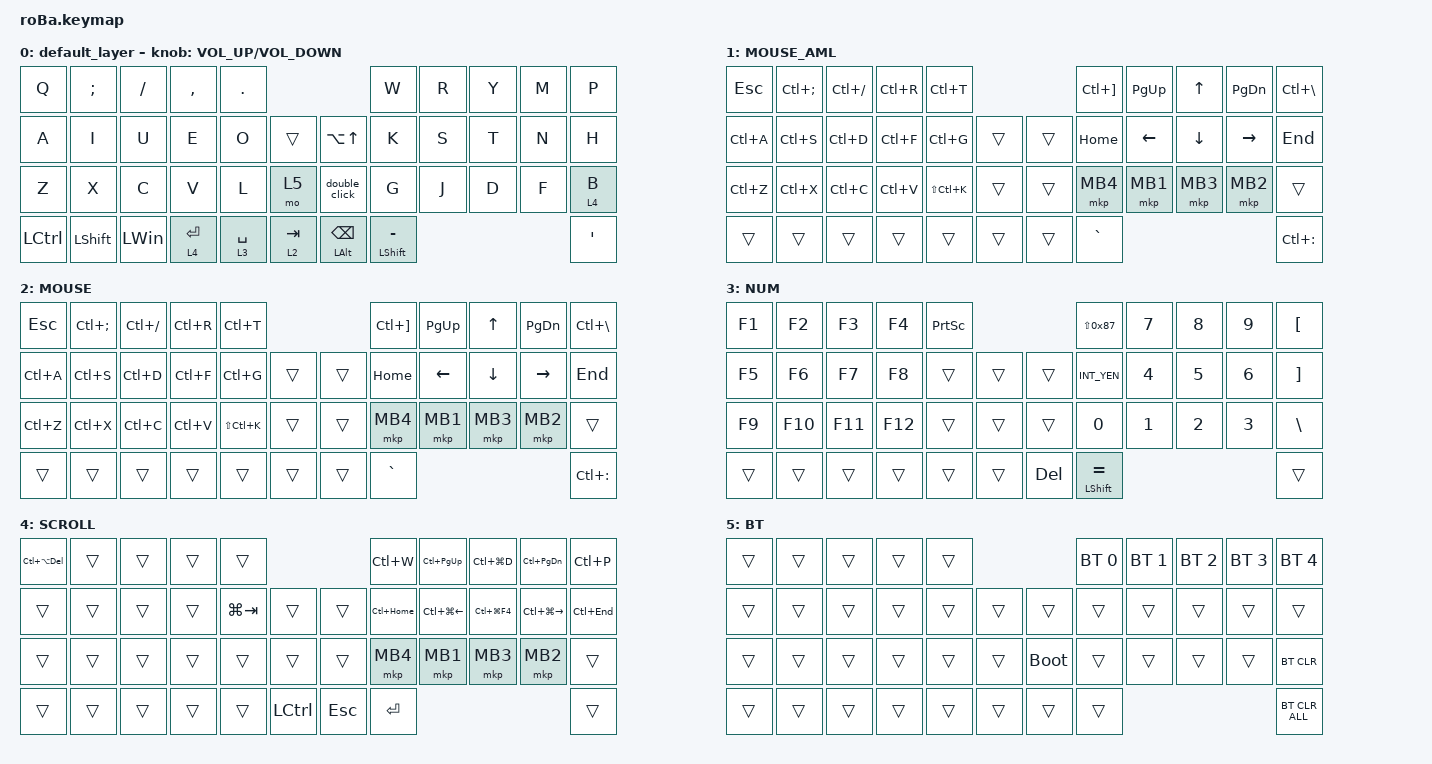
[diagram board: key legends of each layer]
#include <input/processors.dtsi>
#include <behaviors.dtsi>
#include <dt-bindings/zmk/bt.h>
#include <dt-bindings/zmk/keys.h>
#include <dt-bindings/zmk/pointing.h>

&mkp_input_listener {
    input-processors = <&zip_temp_layer 1 250>; // AMLのダブルクリック猶予
};

&mt {
    flavor = "balanced";
    quick-tap-ms = <200>; // TAP & HOLD でTAP側のキーが長押し扱いになる設定
};

&lt {
    quick-tap-ms = <200>; // TAP & HOLD でTAP側のキーが長押し扱いになる設定
};

&trackball {
    // automouse-layer = <1>; // 古いAML有効の方法

    scroll-layers = <4>;

    // arrows {
    //     layers = <3>;
    //     bindings =
    //         <&kp RIGHT_ARROW>,
    //         <&kp LEFT_ARROW>,
    //         <&kp UP_ARROW>,
    //         <&kp DOWN_ARROW>;
    //     tick = <10>;
    //     wait-ms = <5>;
    //     tap-ms = <5>;
    // };
};

/ {
    combos {
        compatible = "zmk,combos";

        left_click {
            bindings = <&mkp MB1>;
            key-positions = <18 19>;
        };

        right_click {
            bindings = <&mkp MB2>;
            key-positions = <19 20>;
        };

        middle_click {
            bindings = <&mkp MB3>;
            key-positions = <18 20>;
        };

        han_zen {
            bindings = <&kp GRAVE>;
            key-positions = <2 1>;
        };

        shift_tab {
            bindings = <&kp LS(TAB)>;
            key-positions = <23 24>;
        };

        tab {
            bindings = <&kp TAB>;
            key-positions = <24 25>;
        };

        space {
            bindings = <&kp SPACE>;
            key-positions = <11 12 13>;
        };

        enter {
            bindings = <&kp ENTER>;
            key-positions = <18 19 20>;
        };

        teams_mute {
            bindings = <&kp LS(LC(M))>;
            key-positions = <27 26>;
        };

        teams_disconnect {
            bindings = <&kp LS(LC(H))>;
            key-positions = <27 25>;
        };
    };

    macros {
        to_layer_0: to_layer_0 {
            compatible = "zmk,behavior-macro-one-param";
            #binding-cells = <1>;
            bindings = <&to 0 &macro_param_1to1 &kp MACRO_PLACEHOLDER>;
            label = "TO_LAYER_0";
        };

        double_click: double_click {
            compatible = "zmk,behavior-macro";
            #binding-cells = <0>;
            bindings = <&mkp MB1 &mkp MB1>;
            label = "DOUBLE_CLICK";
        };
    };

    behaviors {
        lt_to_layer_0: lt_to_layer_0 {
            compatible = "zmk,behavior-hold-tap";
            label = "LAYER_TAP_TO_0";
            bindings = <&mo>, <&to_layer_0>;

            #binding-cells = <2>;
            tapping-term-ms = <200>;
        };
    };

    keymap {
        compatible = "zmk,keymap";

        default_layer {
            bindings = <
&kp Q      &kp SEMICOLON   &kp SLASH     &kp COMMA    &kp PERIOD                                          &kp W                 &kp R  &kp Y  &kp M  &kp P
&kp A      &kp I           &kp U         &kp E        &kp O        &trans         &kp LA(UP)              &kp K                 &kp S  &kp T  &kp N  &kp H
&kp Z      &kp X           &kp C         &kp V        &kp L        &mo 5          &double_click           &kp G                 &kp J  &kp D  &kp F  &lt 4 B
&kp LCTRL  &kp LEFT_SHIFT  &kp LEFT_WIN  &lt 4 ENTER  &lt 3 SPACE  &lt 2 TAB      &mt LEFT_ALT BACKSPACE  &mt LEFT_SHIFT MINUS                       &kp SQT
            >;

            sensor-bindings = <&inc_dec_kp C_VOLUME_UP C_VOLUME_DOWN>;
        };

        MOUSE_AML {
            bindings = <
&kp ESC    &kp LC(SEMICOLON)  &kp LC(SLASH)  &kp LC(R)  &kp LC(T)                          &kp LC(RIGHT_BRACKET)  &kp PAGE_UP  &kp UP    &kp PAGE_DOWN  &kp LC(BSLH)
&kp LC(A)  &kp LC(S)          &kp LC(D)      &kp LC(F)  &kp LC(G)      &trans      &trans  &kp HOME               &kp LEFT     &kp DOWN  &kp RIGHT      &kp END
&kp LC(Z)  &kp LC(X)          &kp LC(C)      &kp LC(V)  &kp LS(LC(K))  &trans      &trans  &mkp MB4               &mkp MB1     &mkp MB3  &mkp MB2       &trans
&trans     &trans             &trans         &trans     &trans         &trans      &trans  &kp GRAVE                                                    &kp LC(COLON)
            >;
        };

        MOUSE {
            bindings = <
&kp ESC    &kp LC(SEMICOLON)  &kp LC(SLASH)  &kp LC(R)  &kp LC(T)                          &kp LC(RIGHT_BRACKET)  &kp PAGE_UP  &kp UP    &kp PAGE_DOWN  &kp LC(BSLH)
&kp LC(A)  &kp LC(S)          &kp LC(D)      &kp LC(F)  &kp LC(G)      &trans      &trans  &kp HOME               &kp LEFT     &kp DOWN  &kp RIGHT      &kp END
&kp LC(Z)  &kp LC(X)          &kp LC(C)      &kp LC(V)  &kp LS(LC(K))  &trans      &trans  &mkp MB4               &mkp MB1     &mkp MB3  &mkp MB2       &trans
&trans     &trans             &trans         &trans     &trans         &trans      &trans  &kp GRAVE                                                    &kp LC(COLON)
            >;
        };

        NUM {
            bindings = <
&kp F1  &kp F2   &kp F3   &kp F4   &kp PRINTSCREEN                       &kp LS(0x87)          &kp N7  &kp N8  &kp N9  &kp LEFT_BRACKET
&kp F5  &kp F6   &kp F7   &kp F8   &trans           &trans      &trans   &kp INT_YEN           &kp N4  &kp N5  &kp N6  &kp RIGHT_BRACKET
&kp F9  &kp F10  &kp F11  &kp F12  &trans           &trans      &trans   &kp N0                &kp N1  &kp N2  &kp N3  &kp BSLH
&trans  &trans   &trans   &trans   &trans           &trans      &kp DEL  &mt LEFT_SHIFT EQUAL                          &trans
            >;
        };

        SCROLL {
            bindings = <
&kp LC(LA(DELETE))  &trans  &trans  &trans  &trans                               &kp LC(W)     &kp LC(PAGE_UP)   &kp LC(LG(D))   &kp LC(PAGE_DOWN)  &kp LC(P)
&trans              &trans  &trans  &trans  &kp LG(TAB)  &trans         &trans   &kp LC(HOME)  &kp LC(LG(LEFT))  &kp LC(LG(F4))  &kp LC(LG(RIGHT))  &kp LC(END)
&trans              &trans  &trans  &trans  &trans       &trans         &trans   &mkp MB4      &mkp MB1          &mkp MB3        &mkp MB2           &trans
&trans              &trans  &trans  &trans  &trans       &kp LCTRL      &kp ESC  &kp ENTER                                                          &trans
            >;
        };

        BT {
            bindings = <
&trans  &trans  &trans  &trans  &trans                           &bt BT_SEL 0  &bt BT_SEL 1  &bt BT_SEL 2  &bt BT_SEL 3  &bt BT_SEL 4
&trans  &trans  &trans  &trans  &trans  &trans      &trans       &trans        &trans        &trans        &trans        &trans
&trans  &trans  &trans  &trans  &trans  &trans      &bootloader  &trans        &trans        &trans        &trans        &bt BT_CLR
&trans  &trans  &trans  &trans  &trans  &trans      &trans       &trans                                                  &bt BT_CLR_ALL
            >;
        };
    };
};
